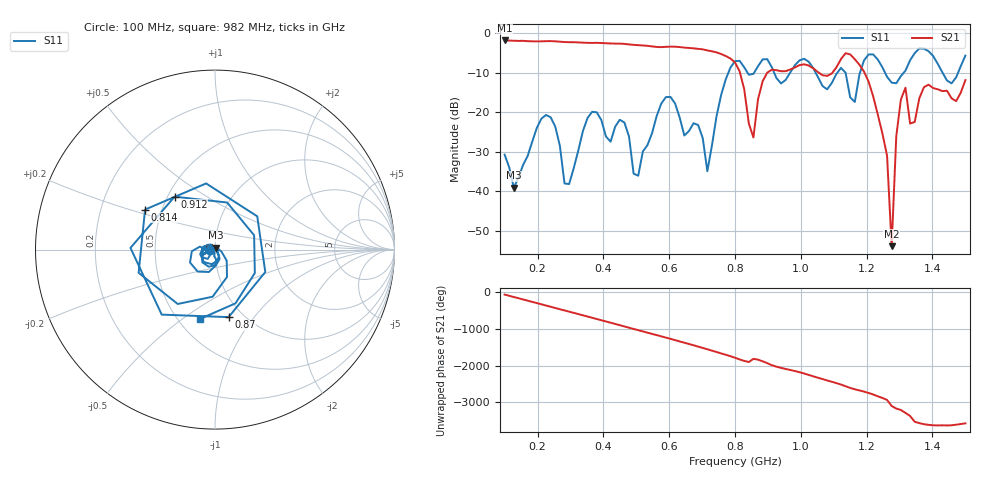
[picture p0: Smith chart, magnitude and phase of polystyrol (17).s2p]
! NanoVNA-App
! Date: 2025-09-25 15:30:01
! Start: 100MHz Stop: 1,5GHz Points: 101
! S-Parameter data: F S11 S21 S12 S22
# Hz S RI R 50
!  Frequency  S11_Real  S11_Imag  S21_Real  S21_Imag  S12_Real  S12_Imag  S22_Real  S22_Imag
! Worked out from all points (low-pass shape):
!   101 points, 100 MHz to 1.5 GHz, reference 50 ohm
!   highest |S21| = -1.80 dB at 100 MHz (marker M1); lowest = -53.9 dB at 1.276 GHz (marker M2)
!   |S21| within 3 dB of the highest: start of sweep to 742.8 MHz
!   lowest |S11| = -39.1 dB at 128 MHz (marker M3), VSWR 1.02, Z = 50.3 + j1.06 ohm
!   |S11| at or under -10 dB: start of sweep to 779.7 MHz; 1.045 GHz to 1.111 GHz (65.4 MHz wide, 6.07 % of centre); 1.256 GHz to 1.312 GHz (56.2 MHz wide, 4.38 % of centre) (the widest 3 of 7)
!   S12 and S22 are empty: the file has one direction only
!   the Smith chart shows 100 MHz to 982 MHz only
!   S11 on the Smith chart (normalised r, x): 100 MHz: 0.94, -0.01; 814 MHz: 0.40, +0.23; 870 MHz: 0.86, -0.76; 912 MHz: 0.54, +0.37; 982 MHz: 0.64, -0.58
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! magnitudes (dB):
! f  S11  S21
! 100 MHz  -30.7  -1.8
! 128 MHz  -39.1  -1.9
! 212 MHz  -21.6  -2.0
! 282 MHz  -38.0  -2.2
! 338 MHz  -24.7  -2.4
! 506 MHz  -36.1  -3.0
! 576 MHz  -17.8  -3.5
! 716 MHz  -34.9  -4.3
! 800 MHz  -7.0  -7.4
! 814 MHz  -7.0  -9.6
! 856 MHz  -10.3  -26.4
! 870 MHz  -8.3  -16.7
! 912 MHz  -8.6  -9.2
! 982 MHz  -8.1  -8.6
! 1.038 GHz  -8.9  -8.9
! 1.164 GHz  -17.4  -6.6
! 1.206 GHz  -5.3  -12.2
! 1.262 GHz  -11.0  -31.0
! 1.276 GHz  -12.5  -53.9
! 1.29 GHz  -12.6  -26.0
! 1.318 GHz  -9.4  -13.8
! 1.5 GHz  -5.6  -11.8
